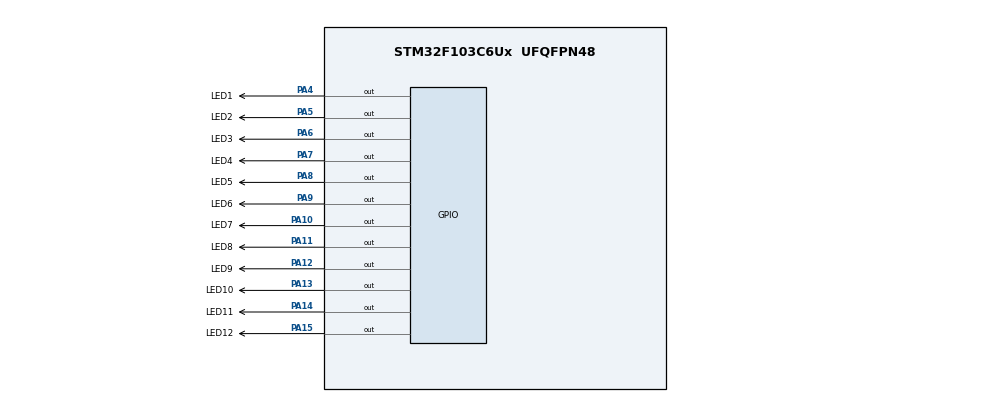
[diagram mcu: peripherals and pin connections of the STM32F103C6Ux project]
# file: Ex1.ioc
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Mcu.Family=STM32F1
Mcu.Name=STM32F103C6Ux
Mcu.Package=UFQFPN48
NVIC.PriorityGroup=NVIC_PRIORITYGROUP_4
PA10.GPIO_Label=LED7
PA10.Signal=GPIO_Output
PA11.GPIO_Label=LED8
PA11.Signal=GPIO_Output
PA12.GPIO_Label=LED9
PA12.Signal=GPIO_Output
PA13.GPIO_Label=LED10
PA13.Signal=GPIO_Output
PA14.GPIO_Label=LED11
PA14.Signal=GPIO_Output
PA15.GPIO_Label=LED12
PA15.Signal=GPIO_Output
PA4.GPIO_Label=LED1
PA4.Signal=GPIO_Output
PA5.GPIO_Label=LED2
PA5.Signal=GPIO_Output
PA6.GPIO_Label=LED3
PA6.Signal=GPIO_Output
PA7.GPIO_Label=LED4
PA7.Signal=GPIO_Output
PA8.GPIO_Label=LED5
PA8.Signal=GPIO_Output
PA9.GPIO_Label=LED6
PA9.Signal=GPIO_Output
ProjectManager.HeapSize=0x200
ProjectManager.StackSize=0x400
ProjectManager.TargetToolchain=STM32CubeIDE
RCC.APB1Freq_Value=8000000
RCC.APB2Freq_Value=8000000
VP_SYS_VS_ND.Mode=No_Debug
board=custom

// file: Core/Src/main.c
/* USER CODE BEGIN Header */
/**
  ******************************************************************************
  * @file           : main.c
  * @brief          : Main program body
  ******************************************************************************
  * @attention
  *
  * <h2><center>&copy; Copyright (c) 2022 STMicroelectronics.
  * All rights reserved.</center></h2>
  *
  * This software component is licensed by ST under BSD 3-Clause license,
  * the "License"; You may not use this file except in compliance with the
  * License. You may obtain a copy of the License at:
  *                        opensource.org/licenses/BSD-3-Clause
  *
  ******************************************************************************
  */
/* USER CODE END Header */
#include "main.h"

void SystemClock_Config(void);
static void MX_GPIO_Init(void);
/* USER CODE BEGIN PFP */
void clearAllClock();
void setNumberOnClock(int);
void clearNumberOnClock(int);
/* USER CODE END PFP */

int main(void)
{

  /* MCU Configuration--------------------------------------------------------*/

  /* Reset of all peripherals, Initializes the Flash interface and the Systick. */
  HAL_Init();

  /* Configure the system clock */
  SystemClock_Config();

  /* Initialize all configured peripherals */
  MX_GPIO_Init();

  /* Infinite loop */
  /* USER CODE BEGIN WHILE */
  /*Ex10*/
  int hour = 9;
  int min = 10;
  int sec = 40;

  while (1)
  {

	  clearAllClock();
	  setNumberOnClock(hour);
	  setNumberOnClock(min / 5);
	  setNumberOnClock(sec / 5);
	  sec++;
	  if (sec >= 60) {
		  sec = 0;
		  min++;
	  }
	  if (min >= 60) {
		  min = 0;
		  hour++;
	  }
	  if (hour >= 24) {
		  hour = 0;
	  }
	  HAL_Delay(50);
    /* USER CODE END WHILE */

  }
}

void SystemClock_Config(void)
{
  RCC_OscInitTypeDef RCC_OscInitStruct = {0};
  RCC_ClkInitTypeDef RCC_ClkInitStruct = {0};

  /** Initializes the RCC Oscillators according to the specified parameters
  * in the RCC_OscInitTypeDef structure.
  */
  RCC_OscInitStruct.OscillatorType = RCC_OSCILLATORTYPE_HSI;
  RCC_OscInitStruct.HSIState = RCC_HSI_ON;
  RCC_OscInitStruct.HSICalibrationValue = RCC_HSICALIBRATION_DEFAULT;
  RCC_OscInitStruct.PLL.PLLState = RCC_PLL_NONE;
  if (HAL_RCC_OscConfig(&RCC_OscInitStruct) != HAL_OK)
  {
    Error_Handler();
  }
  /** Initializes the CPU, AHB and APB buses clocks
  */
  RCC_ClkInitStruct.ClockType = RCC_CLOCKTYPE_HCLK|RCC_CLOCKTYPE_SYSCLK
                              |RCC_CLOCKTYPE_PCLK1|RCC_CLOCKTYPE_PCLK2;
  RCC_ClkInitStruct.SYSCLKSource = RCC_SYSCLKSOURCE_HSI;
  RCC_ClkInitStruct.AHBCLKDivider = RCC_SYSCLK_DIV1;
  RCC_ClkInitStruct.APB1CLKDivider = RCC_HCLK_DIV1;
  RCC_ClkInitStruct.APB2CLKDivider = RCC_HCLK_DIV1;

  if (HAL_RCC_ClockConfig(&RCC_ClkInitStruct, FLASH_LATENCY_0) != HAL_OK)
  {
    Error_Handler();
  }
}

static void MX_GPIO_Init(void)
{
  GPIO_InitTypeDef GPIO_InitStruct = {0};

  /* GPIO Ports Clock Enable */
  __HAL_RCC_GPIOA_CLK_ENABLE();

  /*Configure GPIO pin Output Level */
  HAL_GPIO_WritePin(GPIOA, LED1_Pin|LED2_Pin|LED3_Pin|LED4_Pin
                          |LED5_Pin|LED6_Pin|LED7_Pin|LED8_Pin
                          |LED9_Pin|LED10_Pin|LED11_Pin|LED12_Pin, GPIO_PIN_RESET);

  /*Configure GPIO pins : LED1_Pin LED2_Pin LED3_Pin LED4_Pin
                           LED5_Pin LED6_Pin LED7_Pin LED8_Pin
                           LED9_Pin LED10_Pin LED11_Pin LED12_Pin */
  GPIO_InitStruct.Pin = LED1_Pin|LED2_Pin|LED3_Pin|LED4_Pin
                          |LED5_Pin|LED6_Pin|LED7_Pin|LED8_Pin
                          |LED9_Pin|LED10_Pin|LED11_Pin|LED12_Pin;
  GPIO_InitStruct.Mode = GPIO_MODE_OUTPUT_PP;
  GPIO_InitStruct.Pull = GPIO_NOPULL;
  GPIO_InitStruct.Speed = GPIO_SPEED_FREQ_LOW;
  HAL_GPIO_Init(GPIOA, &GPIO_InitStruct);

}

/* USER CODE BEGIN 4 */
void clearAllClock() {
	HAL_GPIO_WritePin(LED1_GPIO_Port, LED1_Pin, 1);
	HAL_GPIO_WritePin(LED2_GPIO_Port, LED2_Pin, 1);
	HAL_GPIO_WritePin(LED3_GPIO_Port, LED3_Pin, 1);
	HAL_GPIO_WritePin(LED4_GPIO_Port, LED4_Pin, 1);
	HAL_GPIO_WritePin(LED5_GPIO_Port, LED5_Pin, 1);
	HAL_GPIO_WritePin(LED6_GPIO_Port, LED6_Pin, 1);
	HAL_GPIO_WritePin(LED7_GPIO_Port, LED7_Pin, 1);
	HAL_GPIO_WritePin(LED8_GPIO_Port, LED8_Pin, 1);
	HAL_GPIO_WritePin(LED9_GPIO_Port, LED9_Pin, 1);
	HAL_GPIO_WritePin(LED10_GPIO_Port, LED10_Pin, 1);
	HAL_GPIO_WritePin(LED11_GPIO_Port, LED11_Pin, 1);
	HAL_GPIO_WritePin(LED12_GPIO_Port, LED12_Pin, 1);
}

void setNumberOnClock(int num) {
	switch (num) {
	case 11:
		HAL_GPIO_WritePin(LED12_GPIO_Port, LED12_Pin, 0);
		break;
	case 10:
		HAL_GPIO_WritePin(LED11_GPIO_Port, LED11_Pin, 0);
		break;
	case 9:
		HAL_GPIO_WritePin(LED10_GPIO_Port, LED10_Pin, 0);
		break;
	case 8:
		HAL_GPIO_WritePin(LED9_GPIO_Port, LED9_Pin, 0);
		break;
	case 7:
		HAL_GPIO_WritePin(LED8_GPIO_Port, LED8_Pin, 0);
		break;
	case 6:
		HAL_GPIO_WritePin(LED7_GPIO_Port, LED7_Pin, 0);
		break;
	case 5:
		HAL_GPIO_WritePin(LED6_GPIO_Port, LED6_Pin, 0);
		break;
	case 4:
		HAL_GPIO_WritePin(LED5_GPIO_Port, LED5_Pin, 0);
		break;
	case 3:
		HAL_GPIO_WritePin(LED4_GPIO_Port, LED4_Pin, 0);
		break;
	case 2:
		HAL_GPIO_WritePin(LED3_GPIO_Port, LED3_Pin, 0);
		break;
	case 1:
		HAL_GPIO_WritePin(LED2_GPIO_Port, LED2_Pin, 0);
		break;
	case 0:
		HAL_GPIO_WritePin(LED1_GPIO_Port, LED1_Pin, 0);
		break;
	default:
		break;
   }
}

void clearNumberOnClock(int num) {
	switch (num) {
	case 11:
		HAL_GPIO_WritePin(LED12_GPIO_Port, LED12_Pin, 1);
		break;
	case 10:
		HAL_GPIO_WritePin(LED11_GPIO_Port, LED11_Pin, 1);
		break;
	case 9:
		HAL_GPIO_WritePin(LED10_GPIO_Port, LED10_Pin, 1);
		break;
	case 8:
		HAL_GPIO_WritePin(LED9_GPIO_Port, LED9_Pin, 1);
		break;
	case 7:
		HAL_GPIO_WritePin(LED8_GPIO_Port, LED8_Pin, 1);
		break;
	case 6:
		HAL_GPIO_WritePin(LED7_GPIO_Port, LED7_Pin, 1);
		break;
	case 5:
		HAL_GPIO_WritePin(LED6_GPIO_Port, LED6_Pin, 1);
		break;
	case 4:
		HAL_GPIO_WritePin(LED5_GPIO_Port, LED5_Pin, 1);
		break;
	case 3:
		HAL_GPIO_WritePin(LED4_GPIO_Port, LED4_Pin, 1);
		break;
	case 2:
		HAL_GPIO_WritePin(LED3_GPIO_Port, LED3_Pin, 1);
		break;
	case 1:
		HAL_GPIO_WritePin(LED2_GPIO_Port, LED2_Pin, 1);
		break;
	case 0:
		HAL_GPIO_WritePin(LED1_GPIO_Port, LED1_Pin, 1);
		break;
	default:
		break;
   }
}
/* USER CODE END 4 */

void Error_Handler(void)
{
  __disable_irq();
  while (1)
  {
  }
}

/************************ (C) COPYRIGHT STMicroelectronics *****END OF FILE****/
